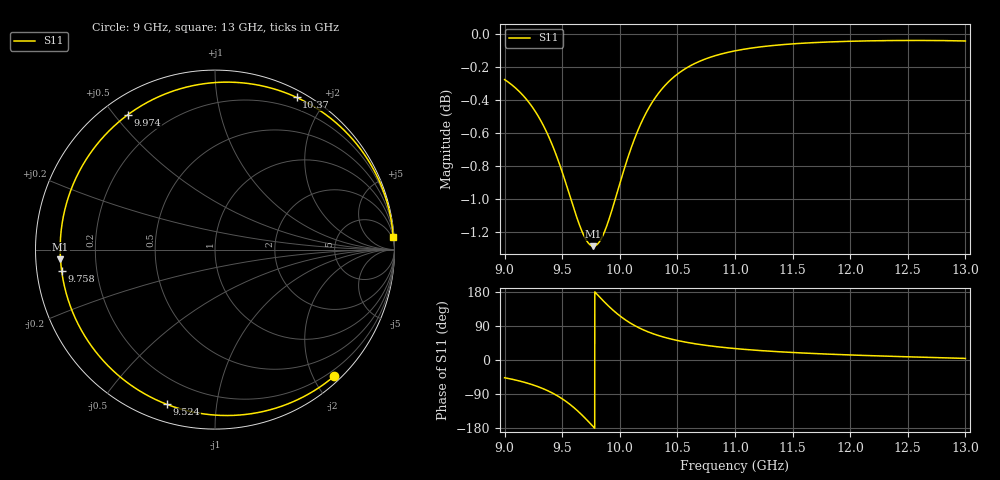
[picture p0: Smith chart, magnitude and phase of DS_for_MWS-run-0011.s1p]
! TOUCHSTONE file generated by CST DESIGN STUDIO
! Date and time: Tue Feb  4 18:31:43 2025
! Project name: C:\Work\MatlabApps\UnitCellOptimizationMatlab\CST\unitcell.cst
! Tree item: Tasks\Sweep1\SPara1\S-Parameters
! Header version: 2024
! Port assignment regex: !\s*Touchstone port\s*([0-9]+)\s*=\s*(CST MWS port|CST DES external port|CST DES block port)\s*(.+)\s* \(\"(.*)\"\)(\s*mode\s*([0-9]+))?.*
! Touchstone port assignment:
! Touchstone port 1 = CST DES external port 1 ("")
# GHz S MA R 50
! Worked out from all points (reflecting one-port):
!   4001 points, 9 GHz to 13 GHz, reference 50 ohm
!   lowest |S11| = -1.3 dB at 9.771 GHz (marker M1), VSWR 13.55, Z = 3.69 - j1.56 ohm
!   phase of S11 starts at -47 deg and turns -309 deg over the sweep
!   S11 on the Smith chart (normalised r, x): 9 GHz: 0.10, -2.31; 9.524 GHz: 0.08, -0.73; 9.758 GHz: 0.07, -0.07; 9.974 GHz: 0.07, +0.54; 10.37 GHz: 0.07, +1.67; 13 GHz: 2, +27
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9  0.9686 -46.8
9.143  0.9594 -56.5
9.273  0.9465 -68.5
9.339  0.9377 -76.3
9.403  0.9274 -85.3
9.5  0.9082 -102.4
9.524  0.9029 -107.3
9.582  0.8898 -120.7
9.637  0.8779 -135.2
9.702  0.867 -154.4
9.758  0.8627 -172.2
9.771  0.8625 -176.4
9.815  0.8644 169.3
9.861  0.8702 154.8
9.919  0.8816 137.6
9.974  0.8946 122.9
10  0.9009 116.6
10.067  0.9167 102.1
10.144  0.9325 88.4
10.25  0.9494 73.7
10.365  0.9622 61.8
10.5  0.9723 51.5
10.717  0.9818 39.9
11  0.9882 30.2
11.5  0.993 19.8
12  0.9948 13.3
12.5  0.9953 8.4
13  0.995 4.2
